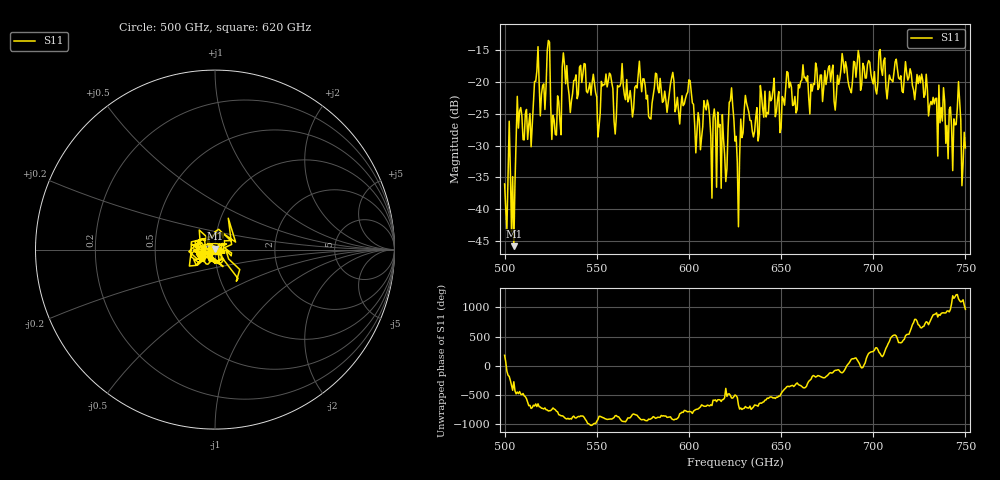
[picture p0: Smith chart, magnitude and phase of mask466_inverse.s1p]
!Created with skrf (http://scikit-rf.org).
# GHz S MA R 50.0
!freq magS11 angS11
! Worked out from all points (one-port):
!   401 points, 500 GHz to 750 GHz, reference 50 ohm
!   lowest |S11| = -45.8 dB at 505 GHz (marker M1), VSWR 1.01, Z = 50 + j0.51 ohm
!   |S11| at or under -10 dB: start of sweep to end of sweep
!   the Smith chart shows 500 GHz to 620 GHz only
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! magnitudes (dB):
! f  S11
! 500 GHz  -36.0
! 505 GHz  -45.8
! 507.5 GHz  -27.2
! 513.8 GHz  -25.0
! 517.5 GHz  -18.3
! 520.6 GHz  -20.5
! 523.8 GHz  -13.5
! 526.9 GHz  -26.0
! 531.2 GHz  -17.6
! 542.5 GHz  -18.7
! 550.6 GHz  -28.7
! 562.5 GHz  -20.7
! 590.6 GHz  -19.3
! 593.8 GHz  -22.4
! 600 GHz  -19.6
! 605 GHz  -24.8
! 609.4 GHz  -24.4
! 618.8 GHz  -28.9
! 623.1 GHz  -20.9
! 625 GHz  -29.3
! 626.2 GHz  -32.7
! 631.2 GHz  -23.3
! 656.2 GHz  -23.7
! 687.5 GHz  -21.2
! 718.8 GHz  -19.7
! 741.9 GHz  -23.9
! 746.2 GHz  -19.9
! 750 GHz  -30.4
